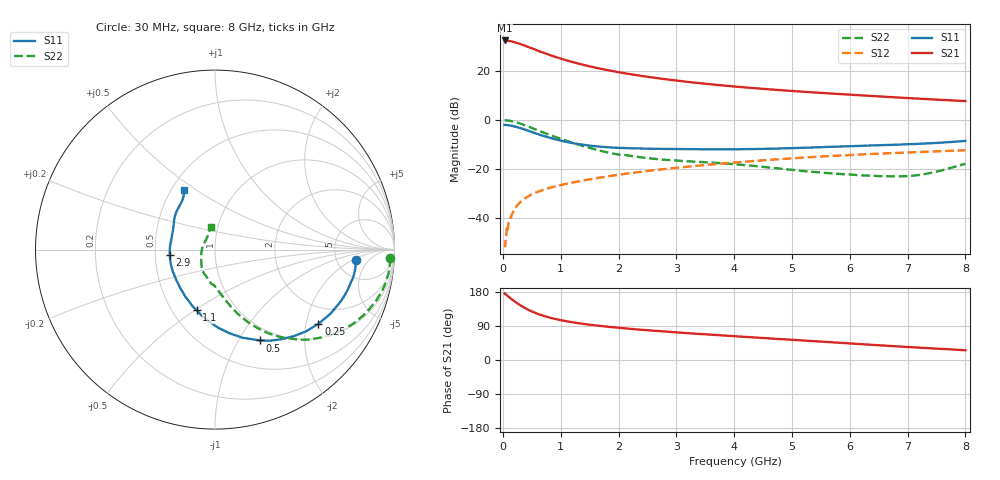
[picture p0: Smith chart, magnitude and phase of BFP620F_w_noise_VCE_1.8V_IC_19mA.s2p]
! Infineon Technologies  Discrete & RF Semiconductors
! BFP620F
! VCE =  1.8 V,  IC =  19 mA
! Common Emitter S-Parameters:  Dec 2014
# GHz  S  MA  R  50
!  f  S11  S21  S12  S22
! GHz  MAG  ANG  MAG  ANG  MAG  ANG  MAG  ANG
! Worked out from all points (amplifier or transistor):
!   95 points, 30 MHz to 8 GHz, reference 50 ohm
!   highest |S21| = 32.5 dB at 30 MHz (marker M1)
!   |S21| within 3 dB of that: start of sweep to 476.5 MHz
!   unconditionally stable (mu >= 1): 3.032 GHz to end of sweep
!   at 300 MHz: K = 0.27, MSG = 32.4 dB, |S12| = -33.6 dB
!   at 3.3 GHz: K = 1.01, MAG = 16.5 dB, |S12| = -18.9 dB
!   at 8 GHz: K = 1.07, MAG = 8.5 dB, |S12| = -12.4 dB
!   lowest NFmin = 0.81 dB at 450 MHz
!   S11 on the Smith chart (normalised r, x): 30 MHz: 7.75, -2.45; 250 MHz: 1.42, -2.36; 500 MHz: 0.83, -1.24; 1.1 GHz: 0.66, -0.51; 2.9 GHz: 0.60, -0.04; 8 GHz: 0.58, +0.45
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0.03  0.7902 -4.3  42.32 175.7  0.0029 90.2  0.9762 -2.8
0.08  0.7838 -12.0  41.89 169.3  0.0056 83.8  0.9724 -9.0
0.15  0.7584 -22.2  40.38 160.7  0.0112 79.6  0.9441 -17.2
0.2  0.7358 -29.1  38.95 155.0  0.0149 75.4  0.9139 -22.6
0.25  0.7089 -35.7  37.45 149.5  0.0179 73.9  0.8789 -27.6
0.3  0.682 -41.9  35.83 144.6  0.0208 72.4  0.8411 -32.3
0.4  0.6211 -53.5  32.5 135.7  0.0257 68.0  0.7596 -40.4
0.5  0.5656 -63.5  29.23 128.3  0.0303 64.9  0.685 -47.1
0.6  0.5143 -72.7  26.32 121.9  0.0335 62.7  0.6135 -52.8
0.7  0.471 -80.6  23.77 116.7  0.0373 61.8  0.5526 -57.5
0.8  0.4346 -87.9  21.53 112.3  0.0403 61.0  0.4984 -61.5
0.9  0.4025 -94.6  19.63 108.5  0.0433 60.0  0.4512 -65.0
1.1  0.3535 -106.7  16.57 102.2  0.0493 59.7  0.3734 -70.9
1.4  0.3092 -122.5  13.33 95.2  0.0578 59.0  0.2896 -78.1
1.7  0.2813 -136.1  11.1 89.7  0.0664 58.8  0.2311 -85.1
2  0.2675 -147.8  9.495 85.1  0.0753 58.1  0.1951 -92.8
2.7  0.2559 -168.5  7.086 76.3  0.0957 55.9  0.1563 -108.5
2.9  0.2542 -173.2  6.605 74.1  0.1015 55.2  0.1498 -112.3
4.1  0.2511 163.7  4.723 61.9  0.137 49.6  0.1211 -127.9
5.4  0.2739 146.8  3.641 49.5  0.1747 41.9  0.0858 -153.3
6.7  0.308 131.9  2.936 37.1  0.2081 33.1  0.0701 159.3
8  0.3715 117.4  2.43 25.7  0.239 24.5  0.1266 101.0
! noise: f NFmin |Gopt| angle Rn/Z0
0.45  0.81  0.06  3  0.21
0.9  0.87  0.06  11  0.18
1.5  0.92  0.06  12  0.14
1.8  0.94  0.05  14  0.14
1.9  0.95  0.03  31  0.16
2.4  0.98  0.02  68  0.15
3.5  1.06  0.03  160  0.14
5.5  1.2  0.14  227  0.1
6  1.23  0.14  248  0.14
